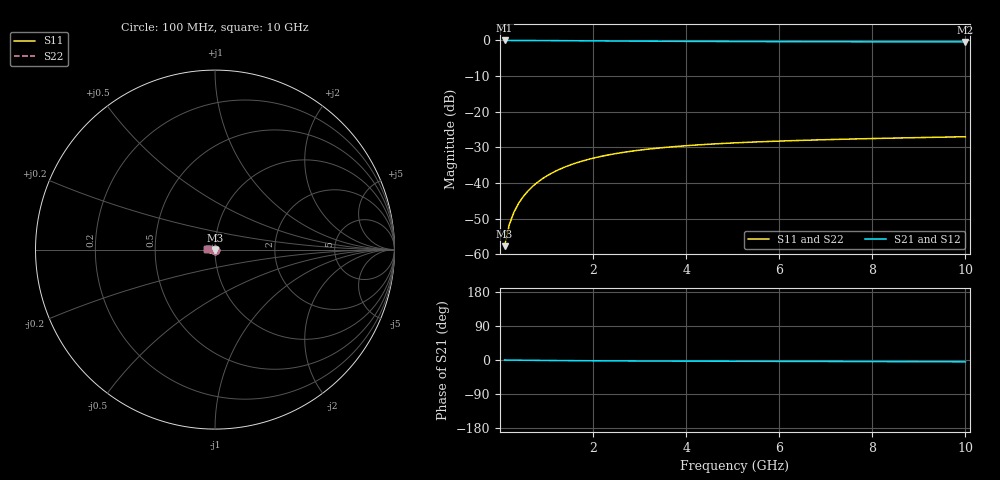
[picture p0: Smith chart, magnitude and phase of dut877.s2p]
! Touchstone file exported from HFSS 2024.1.0
!  File:  C:/UserFiles/LocalFiles/RDL_TSV_Batchsim/temp_TSV1_877_1779883473.aedt
!  Generated:  08:10:06 PM May 27, 2026
!  Design:  TSV1
!  Project:  temp_TSV1_877_1779883473
!  Setup:  Setup1
!  Solution:  Sweep
! Variables:
!  dtsv = 12.4um
!  hbump = 3um
!  htsv = 71.97um
!  lrdl = 252.1521522um
!  p = 40
!  p1 = 58.94um
!  t = 500um
!  trdl = 3um
!  wrdl = 24.89489489um
# GHz S MA R 50.000000
! Terminal data exported
! Port[1] = TSV22_T1
! Port[2] = TSV22_T2
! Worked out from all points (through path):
!   100 points, 100 MHz to 10 GHz, reference 50 ohm
!   highest |S21| = 0.00 dB at 100 MHz (marker M1); lowest = -0.4 dB at 10 GHz (marker M2)
!   lowest |S11| = -57.7 dB at 100 MHz (marker M3), VSWR 1.00, Z = 50 - j0.13 ohm
!   |S11| at or under -10 dB: start of sweep to end of sweep
!   |S22| runs from -57.7 to -27.0 dB; largest |S21 - S12| = 4.3e-15
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0.1  0.001302 -88.2  0.9999 -0.1  0.9999 -0.1  0.001302 -88.2
! Gamma 0 0 0 0
! Port Impedance 50 0 50 0
0.2  0.002599 -92.0  0.9997 -0.3  0.9997 -0.3  0.002599 -92.0
0.3  0.003894 -94.6  0.9995 -0.4  0.9995 -0.4  0.003894 -94.6
0.4  0.005181 -96.8  0.9991 -0.5  0.9991 -0.5  0.005181 -96.8
0.5  0.006457 -99.0  0.9987 -0.6  0.9987 -0.6  0.006457 -99.0
0.6  0.007715 -101.1  0.9982 -0.7  0.9982 -0.7  0.007715 -101.1
0.7  0.008953 -103.2  0.9977 -0.9  0.9977 -0.9  0.008953 -103.2
0.8  0.01017 -105.2  0.997 -1.0  0.997 -1.0  0.01017 -105.2
0.9  0.01135 -107.2  0.9963 -1.1  0.9963 -1.1  0.01135 -107.2
1.1  0.01364 -111.0  0.9948 -1.3  0.9948 -1.3  0.01364 -111.0
1.4  0.01683 -116.5  0.9922 -1.6  0.9922 -1.6  0.01683 -116.5
1.6  0.01879 -119.9  0.9904 -1.7  0.9904 -1.7  0.01879 -119.9
1.8  0.02061 -123.2  0.9885 -1.9  0.9885 -1.9  0.02061 -123.2
2.1  0.02309 -127.8  0.9857 -2.1  0.9857 -2.1  0.02309 -127.8
2.5  0.02596 -133.4  0.982 -2.4  0.982 -2.4  0.02596 -133.4
2.9  0.02839 -138.5  0.9786 -2.6  0.9786 -2.6  0.02839 -138.5
3.4  0.03092 -144.2  0.9748 -2.8  0.9748 -2.8  0.03092 -144.2
4.2  0.03408 -151.9  0.9697 -3.1  0.9697 -3.1  0.03408 -151.9
5.1  0.03673 -159.2  0.9653 -3.3  0.9653 -3.3  0.03673 -159.2
6.7  0.04006 -169.6  0.9599 -3.8  0.9599 -3.8  0.04007 -169.6
8.4  0.04263 -178.4  0.9562 -4.3  0.9562 -4.3  0.04263 -178.4
10  0.04461 174.6  0.9539 -4.8  0.9539 -4.8  0.04462 174.6
